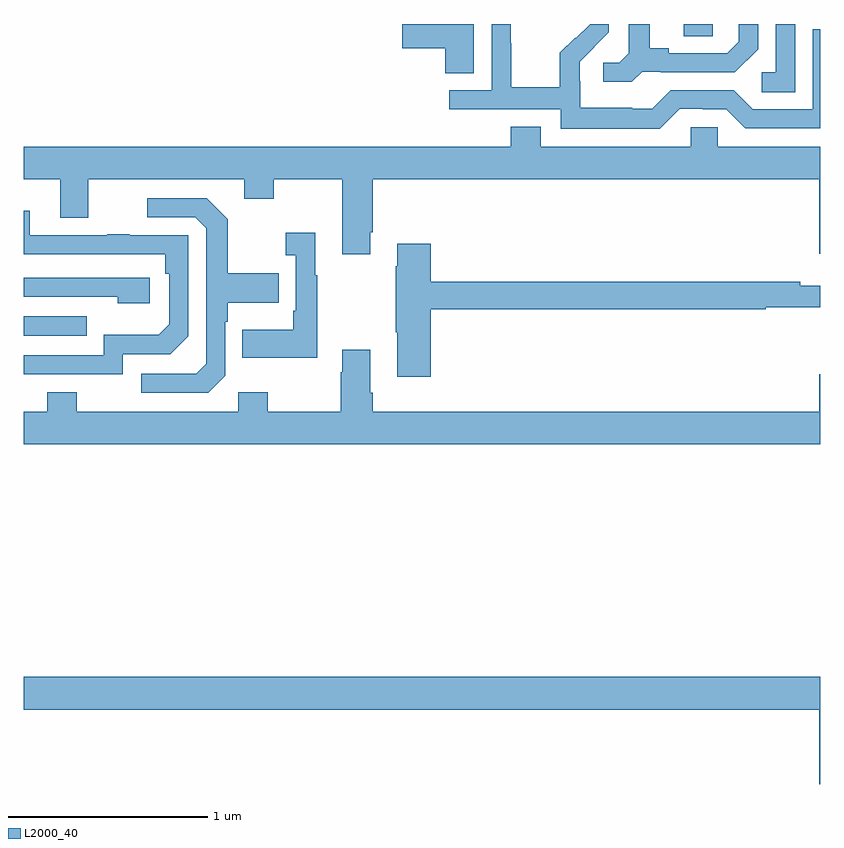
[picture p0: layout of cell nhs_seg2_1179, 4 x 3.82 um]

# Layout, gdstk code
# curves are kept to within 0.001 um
import gdstk
lib = gdstk.Library(unit=1e-6, precision=1e-09)
def R(c, l, rs):  # rectangles x0, y0, x1, y1
    for r in rs: c.add(gdstk.rectangle(r[:2], r[2:], *l))
def P(c, l, *ps):  # polygons
    for p in ps: c.add(gdstk.Polygon(p, *l))
L2000_40 = (2000, 40)

nhs_seg2_1179 = lib.new_cell('nhs_seg2_1179')
R(nhs_seg2_1179, L2000_40, [(173,596.235,173.315,596.331), (176.315,597.739,176.46,597.8)])
P(nhs_seg2_1179, L2000_40, [(176.874,597.8),(176.778,597.8),(176.778,597.558),(176.706,597.558),(176.706,597.457),(176.874,597.457)],
  [(176.295,597.375),(176.411,597.375),(176.411,597.372),(176.529,597.372),(176.625,597.276),(177,597.276),(177,597.774),(176.964,597.774),(176.964,597.372),(176.661,597.372),(176.565,597.468),(176.25,597.468),(176.157,597.375),(176.057,597.375),(176.057,597.379),(175.794,597.379),(175.794,597.513),(175.792,597.513),(175.792,597.61),(175.938,597.758),(175.938,597.8),(175.844,597.8),(175.773,597.729),(175.77,597.732),(175.693,597.655),(175.693,597.481),(175.449,597.481),(175.449,597.704),(175.446,597.704),(175.446,597.8),(175.35,597.8),(175.35,597.468),(175.137,597.468),(175.137,597.372),(175.698,597.372),(175.698,597.275),(176.195,597.275)],
  [(176.106,597.561),(176.2,597.561),(176.2,597.558),(176.572,597.558),(176.688,597.674),(176.688,597.8),(176.591,597.8),(176.591,597.711),(176.534,597.654),(176.239,597.654),(176.239,597.677),(176.143,597.677),(176.143,597.8),(176.039,597.8),(176.039,597.653),(175.992,597.606),(175.911,597.606),(175.911,597.509),(176.054,597.509)],
  [(175.261,597.8),(174.9,597.8),(174.9,597.677),(175.118,597.677),(175.118,597.553),(175.261,597.553)],
  [(174.739,596.755),(174.752,596.755),(174.752,597.02),(176.996,597.02),(176.996,596.646),(177,596.646),(177,597.184),(176.487,597.184),(176.487,597.282),(176.349,597.282),(176.349,597.184),(175.597,597.184),(175.597,597.283),(175.445,597.283),(175.445,597.184),(173,597.184),(173,597.02),(173.183,597.02),(173.183,596.826),(173.323,596.826),(173.323,597.02),(174.107,597.02),(174.107,596.921),(174.255,596.921),(174.255,597.02),(174.599,597.02),(174.599,596.643),(174.739,596.643)],
  [(174.012,596.034),(174.012,596.303),(174.025,596.303),(174.025,596.399),(174.281,596.399),(174.281,596.547),(174.025,596.547),(174.025,596.819),(173.919,596.925),(173.619,596.925),(173.619,596.829),(173.862,596.829),(173.916,596.775),(173.916,596.094),(173.865,596.043),(173.589,596.043),(173.589,595.947),(173.925,595.947)],
  [(173.496,596.142),(173.736,596.142),(173.826,596.232),(173.826,596.739),(173.531,596.739),(173.531,596.744),(173.419,596.744),(173.419,596.739),(173.029,596.739),(173.029,596.863),(173,596.863),(173,596.644),(173.71,596.643),(173.71,596.546),(173.73,596.546),(173.73,596.292),(173.677,596.239),(173.4,596.239),(173.4,596.136),(173,596.136),(173,596.04),(173.496,596.04)],
  [(174.475,596.539),(174.463,596.539),(174.463,596.752),(174.315,596.752),(174.315,596.639),(174.366,596.639),(174.366,596.359),(174.354,596.359),(174.354,596.263),(174.097,596.263),(174.097,596.123),(174.475,596.123)],
  [(175.043,596.368),(176.726,596.368),(176.726,596.376),(177,596.376),(177,596.485),(176.9,596.485),(176.9,596.504),(175.043,596.504),(175.043,596.695),(174.875,596.695),(174.875,596.582),(174.868,596.582),(174.868,596.251),(174.875,596.251),(174.875,596.028),(175.043,596.028)],
  [(173.632,596.526),(173,596.526),(173,596.43),(173.471,596.43),(173.471,596.396),(173.632,596.396)],
  [(177,596.041),(176.996,596.041),(176.996,595.852),(174.752,595.852),(174.752,595.948),(174.739,595.948),(174.739,596.164),(174.599,596.164),(174.599,596.051),(174.592,596.051),(174.592,595.852),(174.225,595.852),(174.225,595.951),(174.078,595.951),(174.078,595.852),(173.265,595.852),(173.265,595.951),(173.117,595.951),(173.117,595.852),(173,595.852),(173,595.688),(177,595.688)],
  [(177,594.52),(173,594.52),(173,594.356),(176.996,594.356),(176.996,593.982),(177,593.982)])

lib.write_gds('nhs_seg2_1179.gds')
